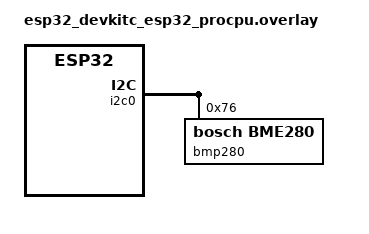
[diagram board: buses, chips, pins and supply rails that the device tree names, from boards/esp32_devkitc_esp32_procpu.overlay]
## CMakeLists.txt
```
cmake_minimum_required(VERSION 3.20.0)
find_package(Zephyr REQUIRED HINTS $ENV{ZEPHYR_BASE}) # requires Zephyr venv
project(my_app)
target_sources(app PRIVATE 
    src/main.c
    src/wifi.c
    src/mqtt.c
    src/sensor.c
)
```

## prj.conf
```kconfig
# controls build options

# enable sensor framework
CONFIG_SENSOR=y
# using Bosch BMP280 (boards/[].overlay specifies BMP over BME)
CONFIG_BME280=y

CONFIG_I2C=y

# logging
CONFIG_LOG=y
CONFIG_PRINTK=y
CONFIG_CBPRINTF_FP_SUPPORT=y

# networking
CONFIG_NETWORKING=y
CONFIG_NET_IPV4=y
CONFIG_NET_TCP=y
CONFIG_NET_SOCKETS=y

# wifi
CONFIG_WIFI=y
CONFIG_NET_L2_ETHERNET=y
CONFIG_NET_L2_WIFI_MGMT=y
CONFIG_NET_DHCPV4=y

# dns
CONFIG_DNS_RESOLVER=y
CONFIG_DNS_SERVER_IP_ADDRESSES=y
CONFIG_DNS_SERVER1="8.8.8.8"

# buffers
CONFIG_NET_BUF_DATA_SIZE=256
CONFIG_NET_PKT_RX_COUNT=16
CONFIG_NET_PKT_TX_COUNT=16
CONFIG_NET_BUF_RX_COUNT=16
CONFIG_NET_BUF_TX_COUNT=16

# MQTT
CONFIG_MQTT_LIB=y

# watchdog
CONFIG_WATCHDOG=y
CONFIG_WDT_DISABLE_AT_BOOT=n

# dbg
# CONFIG_SHELL=y
# CONFIG_I2C_SHELL=y
```

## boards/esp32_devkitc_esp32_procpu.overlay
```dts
#include <zephyr/dt-bindings/pinctrl/esp32-pinctrl.h>

&pinctrl {
    i2c0_default: i2c0_default {
        group1 {
            pinmux = <I2C0_SDA_GPIO21>,
                     <I2C0_SCL_GPIO22>;
            bias-pull-up;
            drive-open-drain;
            output-high;
        };
    };
};

&i2c0 {
    status = "okay";
    pinctrl-0 = <&i2c0_default>;
    pinctrl-names = "default";

    bmp280@76 {
        compatible = "bosch,bme280";
        reg = <0x76>;
        status = "okay";
    };
};
```

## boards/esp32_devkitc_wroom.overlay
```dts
&i2c0 {
    bme280@76 {
        compatible = "bosch,bme280";
        reg = <0x76>;
    };
};
```

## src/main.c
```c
#include <zephyr/kernel.h>
#include <zephyr/device.h>
#include <zephyr/drivers/sensor.h>
#include <zephyr/drivers/watchdog.h>
#include <zephyr/logging/log.h>
#include "wifi.h"
#include "mqtt.h"

/* https://docs.zephyrproject.org/latest/services/logging/index.html#logging-in-a-module */
LOG_MODULE_REGISTER(bmp280_app, LOG_LEVEL_INF);

/* watchdog will restart everything if a thread hangs */
static const struct device *wdt = DEVICE_DT_GET(DT_NODELABEL(wdt0));
static int wdt_channel;

static void wdt_init(void) {
    struct wdt_timeout_cfg cfg = {
        .window = { .min = 0, .max = 10000 }, // 10 sec timeout
        .callback = NULL, // force reset on expiry
        .flags = WDT_FLAG_RESET_SOC,
    };

    if (!device_is_ready(wdt)) {
        LOG_ERR("[WDT] WDT not ready");
        return;
    }

    wdt_channel = wdt_install_timeout(wdt, &cfg);
    wdt_setup(wdt, WDT_OPT_PAUSE_HALTED_BY_DBG); // don't reset when debugging
}


int main(void) {
    printk("[WDT] starting setup...");
    wdt_init();

    printk("[ESP32] starting setup...\n");

    if (wifi_connect()) {
        LOG_ERR("[WIFI] ERROR: wifi_connect failed\n");
        return -1;
    }

    k_sleep(K_SECONDS(1));

    if (mqtt_app_connect()) {
        LOG_ERR("[MQTT] ERROR: mqtt_app_connect failed\n");
        return -1;
    }

    while (1) {
        wdt_feed(wdt, wdt_channel);
        k_sleep(K_SECONDS(5));
    }                
    return 0;
}
```

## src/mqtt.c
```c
#include <zephyr/kernel.h>
#include <zephyr/net/mqtt.h>
#include <zephyr/net/socket.h>
#include <zephyr/net/net_ip.h>
#include <zephyr/logging/log.h>
#include <zephyr/random/random.h>
#include <string.h>
#include <stdio.h>
#include "secrets.h"
#include "sensor.h"

LOG_MODULE_REGISTER(mqtt_pub, LOG_LEVEL_INF);


static uint8_t rx_buf[256];
static uint8_t tx_buf[256];

static struct mqtt_client client;
static struct sockaddr_in broker;
static struct mqtt_utf8 client_id;

static uint8_t pub_topic[] = "sensor/esp32";

#define CLIENT_ID "zephyr-node1"
#define KEEPALIVE_S  60

/* controls publish/polling */
K_SEM_DEFINE(mqtt_sem, 1, 1);
/* prevent mqtt from initializing before fds is ready */
K_SEM_DEFINE(mqtt_ready, 0, 1);

/* http://www.steves-internet-guide.com/understanding-mqtt-qos-levels-part-1/ */
void mqtt_event_handler(struct mqtt_client *c, const struct mqtt_evt *evt) {
    switch (evt->type) {
        case MQTT_EVT_CONNACK:
            if (evt->result == 0) {
                printk("[MQTT] connected to broker\n");
            }
            break;
        case MQTT_EVT_DISCONNECT:
            printk("[MQTT] disconnected from broker\n");
            break;
        case MQTT_EVT_PUBACK:
            printk("[MQTT] recieved PUBACK");
            break;
        default:
            break;
    }
}

int mqtt_app_connect(void) {
    broker.sin_family = AF_INET;
    broker.sin_port = htons(BROKER_PORT);
    net_addr_pton(AF_INET, BROKER_ADDR, &broker.sin_addr);

    client_id.utf8 = (uint8_t *)CLIENT_ID;
    client_id.size = strlen(CLIENT_ID);

    mqtt_client_init(&client);
    client.broker = (struct sockaddr *)&broker;
    client.evt_cb = mqtt_event_handler;
    client.client_id = client_id;
    client.protocol_version = MQTT_VERSION_3_1_1;
    client.keepalive = KEEPALIVE_S;
    client.rx_buf = rx_buf;
    client.rx_buf_size = sizeof(rx_buf);
    client.tx_buf = tx_buf;
    client.tx_buf_size = sizeof(tx_buf);

    client.transport.type = MQTT_TRANSPORT_NON_SECURE;

    int ret = mqtt_connect(&client);
    if (ret) {
        printk("[MQTT] mqtt_connect failed: %d\n", ret);
    }
    // signal we are ready to init mqtt
    k_sem_give(&mqtt_ready);
    return ret;
}

int mqtt_publish_sensor(double temp, double pressure) {
    char payload[128];
    snprintf(payload, sizeof(payload), "{\"temp\":%.2f,\"pressure\":%.2f}", temp, pressure);

    struct mqtt_publish_param param = {
        .message = {
            .topic = {
                .topic = { .utf8 = pub_topic,
                           .size = sizeof(pub_topic) - 1 },
                .qos = MQTT_QOS_0_AT_MOST_ONCE,
            },
            .payload = { .data = (uint8_t*)payload,
                         .len = strlen(payload) },
        },
        .message_id = sys_rand32_get(),
        .dup_flag = 0,
        .retain_flag = 0,
    };

    k_sem_take(&mqtt_sem, K_FOREVER);
    int rc = mqtt_publish(&client, &param);
    k_sem_give(&mqtt_sem);

    if (rc != 0) {
        LOG_ERR("[MQTT] mqtt_publish failed: %d", rc);
    } else {
        LOG_INF("[MQTT] published: %s", payload);
    }

    return rc;
}

void mqtt_thread_entry(void *p1, void *p2, void *p3) {
    ARG_UNUSED(p1); ARG_UNUSED(p2); ARG_UNUSED(p3);

    // wait for mqtt_app_connect to complete before assigning fds
    k_sem_take(&mqtt_ready, K_FOREVER);

    struct zsock_pollfd fds = { 
        .fd = client.transport.tcp.sock,
        .events = ZSOCK_POLLIN,
    };

    struct sensor_reading reading;

    while (1) {
        // check for mqtt traffic w/o blocking
        int rc = zsock_poll(&fds, 1, 100);
        if (rc > 0 && (fds.revents & ZSOCK_POLLIN)) {
            k_sem_take(&mqtt_sem, K_FOREVER);
            mqtt_input(&client);
            k_sem_give(&mqtt_sem);
        }

        k_sem_take(&mqtt_sem, K_FOREVER);
        mqtt_live(&client); // whole reason for non-blocking, has to keep getting called otherwise we drop connection
        k_sem_give(&mqtt_sem);

        // publish
        while (k_msgq_get(&sensor_msgq, &reading, K_NO_WAIT) == 0) {
            mqtt_publish_sensor(reading.temperature, reading.pressure);
        }
    }
}

/* higher priority then sensor thread */
K_THREAD_DEFINE(mqtt_tid, 4096, mqtt_thread_entry, NULL, NULL, NULL, 6, 0, 0);
```

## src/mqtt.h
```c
#ifndef MQTT_APP_H
#define MQTT_APP_H

#include <zephyr/net/mqtt.h>

/**
 * @brief connect to the MQTT broker defined in secrets.h
 * 
 * inits the mqtt_client struct, sets broker address/port,
 * and calls mqtt_connect(). Blocks until CONNACK is received.
 * must be called after wifi_connect()
 * 
 * @returns 0 on success, - errno on failure
 */
int mqtt_app_connect(void);

/**
 * @brief publish a sensor reading to sensor/esp32
 * 
 * serialises temp and pressure into a JSON payload and publishes
 * at QoS 0. Guards the mqtt_client with mqtt_sem internally.
 * 
 * @returns 0 on success, - errno on fail
 */
int mqtt_publish_sensor(double temp, double pressure);

/**
 * @brief MQTT thread entry point.
 *
 * defined via K_THREAD_DEFINE in mqtt.c, DO NOT CALL DIRECTLY.
 * polls the MQTT socket for incoming traffic, drives the keepalive
 * cycle via mqtt_live(), and drains sensor_msgq to publish readings.
 */
void mqtt_thread_entry(void *p1, void *p2, void *p3);

/**
 * @brief MQTT event callback (registered internally, exposed for reference)
 * 
 * handles CONNACK, DISCONNECT, and PUBACK events.
 * DO NOT CALL DIRECTLY.
 */
void mqtt_event_handler(struct mqtt_client *c, const struct mqtt_evt *evt);

#endif 
```

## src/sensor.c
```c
#include <zephyr/kernel.h>
#include <zephyr/device.h>
#include <zephyr/drivers/sensor.h>
#include <zephyr/logging/log.h>
#include "sensor.h"

LOG_MODULE_REGISTER(sensor, LOG_LEVEL_INF);

// 4 reading buffer if we drop connection
K_MSGQ_DEFINE(sensor_msgq, sizeof(struct sensor_reading), 4, 4);

/* https://docs.zephyrproject.org/latest/doxygen/html/group__device__model.html#gaadf3ffb63df544eb3de356ab2c5e9e3c 
 * what actually allows abstraction away from hardware
 */
const struct device *const bmp280 = DEVICE_DT_GET_ANY(bosch_bme280);

// producer/consumer setup like 480
static void sensor_timer_handler(struct k_timer *timer);
static void sensor_work_handler(struct k_work *work);

K_TIMER_DEFINE(sensor_timer, sensor_timer_handler, NULL);
K_WORK_DEFINE(sensor_work, sensor_work_handler);

static void sensor_timer_handler(struct k_timer *timer) {
    k_work_submit(&sensor_work);
}

static void sensor_work_handler(struct k_work *work) {
    struct sensor_value temp, press;
    struct sensor_reading reading;

    if (sensor_sample_fetch(bmp280) < 0) {
        LOG_ERR("[SENSOR] failed to sample sensor");
        return;
    }

    sensor_channel_get(bmp280, SENSOR_CHAN_AMBIENT_TEMP, &temp);
    sensor_channel_get(bmp280, SENSOR_CHAN_PRESS, &press);

    reading.temperature = sensor_value_to_double(&temp);
    reading.pressure = sensor_value_to_double(&press);

    if (k_msgq_put(&sensor_msgq, &reading, K_NO_WAIT) != 0) {
        LOG_WRN("[SENSOR/MQTT] Sensor queue full, dropping reading");
    }
}

void sensor_thread_entry(void *p1, void *p2, void *p3) {
    ARG_UNUSED(p1); ARG_UNUSED(p2); ARG_UNUSED(p3);

    if (!device_is_ready(bmp280)) {
        LOG_ERR("BMP280 not ready");
        return;
    }

    /* samples every 5 seconds */
    k_timer_start(&sensor_timer, K_SECONDS(5), K_SECONDS(5));

    /* work queue does sampling, but keep thread alive */
    while (1) {
        k_sleep(K_FOREVER);
    }
}

/* lower priority than mqtt thread */
K_THREAD_DEFINE(sensor_tid, 2048, sensor_thread_entry, NULL, NULL, NULL, 7, 0, 0);
```

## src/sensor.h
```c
#ifndef SENSOR_H
#define SENSOR_H

#include <zephyr/kernel.h>

/**
 * @brief sensor reading passed between the sensor and MQTT threads.
 */
struct sensor_reading {
    double temperature; /* degrees Celsius */
    double pressure;    /* hPa */
};

/**
 * @brief message queue populated by the sensor thread.
 */
extern struct k_msgq sensor_msgq;

/**
 * @brief sensor thread entry point.
 *
 * defined via K_THREAD_DEFINE in sensor.c, DO NOT CALL
 * inits BMP280, starts the periodic k_timer, and
 * blocks indefinitely while the system work queue handles sampling
 */
void sensor_thread_entry(void *p1, void *p2, void *p3);

#endif /* SENSOR_H */
```

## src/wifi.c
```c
#include <zephyr/kernel.h>
#include <zephyr/net/net_if.h>
#include <zephyr/net/wifi_mgmt.h>
#include <zephyr/net/net_event.h>
#include "wifi.h"
#include "secrets.h"

#define WIFI_TIMEOUT K_SECONDS(20)

/* k_sem_give = up
 * k_sem_take = down */
static K_SEM_DEFINE(wifi_connected, 0, 1);
static K_SEM_DEFINE(ipv4_obtained, 0, 1);

// bound to wifi/ipv4 event handler
#define WIFI_EVENTS (NET_EVENT_WIFI_CONNECT_RESULT | \
                      NET_EVENT_WIFI_DISCONNECT_RESULT)
#define IPV4_EVENTS NET_EVENT_IPV4_ADDR_ADD

static struct net_mgmt_event_callback wifi_cb;
static struct net_mgmt_event_callback ipv4_cb;

// iface required by net_mgmt_event_callback
static void wifi_event_handler(struct net_mgmt_event_callback *cb, 
                                uint64_t mgmt_event, struct net_if *iface) {
    if (mgmt_event == NET_EVENT_WIFI_CONNECT_RESULT) {
        struct wifi_status *status = (struct wifi_status *)cb->info;
        if (status->conn_status == WIFI_STATUS_CONN_SUCCESS) {
            printk("[WIFI] connected\n");
            k_sem_give(&wifi_connected);
        } else {
            printk("[WIFI] connection failed (status %d)\n", status->conn_status);
        }
    }
}

static void ipv4_event_handler(struct net_mgmt_event_callback *ipv4_cb,
                                uint64_t mgmt_event, struct net_if *iface) {
    if (mgmt_event == NET_EVENT_IPV4_ADDR_ADD) {
        printk("[WIFI] IP assigned");
        k_sem_give(&ipv4_obtained);
    } else {
        printk("[WIFI] IP assignment failed");
    }
}

int wifi_connect(void) {
    struct net_if *iface = net_if_get_default();
    struct wifi_connect_req_params params = {
        .ssid = WIFI_SSID,
        .ssid_length = strlen(WIFI_SSID),
        .psk = WIFI_PW,
        .psk_length = strlen(WIFI_PW),
        .security = WIFI_SECURITY_TYPE_PSK,
        .channel = WIFI_CHANNEL_ANY,
        .band = WIFI_FREQ_BAND_2_4_GHZ,
        .mfp = WIFI_MFP_OPTIONAL
    };

    net_mgmt_init_event_callback(&wifi_cb, wifi_event_handler, WIFI_EVENTS);
    net_mgmt_add_event_callback(&wifi_cb);
    net_mgmt_init_event_callback(&ipv4_cb, ipv4_event_handler, IPV4_EVENTS);
    net_mgmt_add_event_callback(&ipv4_cb);

    printk("[WIFI] connecting to: %s\n", WIFI_SSID);
    int ret = net_mgmt(NET_REQUEST_WIFI_CONNECT, iface, &params, sizeof(params));
    if (ret) {
        printk("[WIFI] connection request failed: %d\n", ret);
        return ret;
    }

    if (k_sem_take(&wifi_connected, WIFI_TIMEOUT)) {
        printk("[wifi] Timeout waiting for WiFi\n");
        return -ETIMEDOUT;
    }

    struct net_linkaddr *mac = net_if_get_link_addr(iface);
    printk("[WIFI] MAC: %02X:%02X:%02X:%02X:%02X:%02X\n",
        mac->addr[0], mac->addr[1], mac->addr[2],
        mac->addr[3], mac->addr[4], mac->addr[5]);

    // move off of 1.0.0.0
    net_dhcpv4_start(iface);
    printk("[WIFI] DHCP started\n");

    if (k_sem_take(&ipv4_obtained, WIFI_TIMEOUT)) {
        printk("[wifi] Timeout waiting for IP\n");
        return -ETIMEDOUT;
    }

    struct net_in_addr *if_addr = net_if_ipv4_get_global_addr(iface, NET_ADDR_PREFERRED);
    if (if_addr) {
        char buf[NET_IPV4_ADDR_LEN];
        net_addr_ntop(AF_INET, if_addr, buf, sizeof(buf));
        printk("[WIFI] ESP32 IP: %s\n", buf);
    } else {
        printk("[WIFI] no preferred IPv4 address found\n");
    }

    printk("[WIFI] Ready!\n");
    return 0;
}
```

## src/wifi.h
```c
#ifndef WIFI_H
#define WIFI_H

/**
 * @brief connect to the WiFi network defined in secrets.h
 * 
 * registers net_mgmt event callbacks for WiFi association and
 * IPv4 address assignment, then issues a connect request.
 * blocks on two semaphores — one for WiFi association, one for
 * DHCP — each with a 20 second timeout.
 * 
 * @returns 0 on success, -ETIMEDOUT if either stage times out,
 * - errno on connection request failure
 */
int wifi_connect(void);

#endif
```
